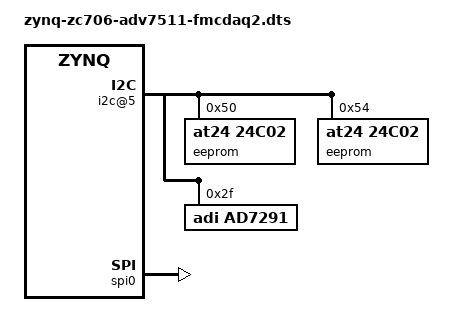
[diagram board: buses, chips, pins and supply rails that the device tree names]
// SPDX-License-Identifier: GPL-2.0
/*
 * Analog Devices AD-FMCDAQ2-EBZ
 * https://wiki.analog.com/resources/eval/user-guides/ad-fmcdaq2-ebz
 *
 * hdl_project: <daq2/zc706>
 * board_revision: <>
 *
 * Copyright (C) 2014-2019 Analog Devices Inc.
 */
/dts-v1/;

#include "zynq-zc706.dtsi"
#include "zynq-zc706-adv7511.dtsi"
#include <dt-bindings/jesd204/adxcvr.h>

&i2c_mux {
	i2c@5 { /* HPC IIC */
		#address-cells = <1>;
		#size-cells = <0>;
		reg = <5>;

		eeprom@50 {
			compatible = "at24,24c02";
			reg = <0x50>;
		};

		eeprom@54 {
			compatible = "at24,24c02";
			reg = <0x54>;
		};

		ad7291@2f {
			compatible = "adi,ad7291";
			reg = <0x2f>;
		};
	};
};


&fpga_axi {
	rx_dma: rx-dmac@7c400000 {
		compatible = "adi,axi-dmac-1.00.a";
		reg = <0x7c400000 0x10000>;
		#dma-cells = <1>;
		interrupts = <0 57 IRQ_TYPE_LEVEL_HIGH>;
		clocks = <&clkc 16>;

		adi,channels {
			#address-cells = <1>;
			#size-cells = <0>;

			dma-channel@0 {
				reg = <0>;
				adi,source-bus-width = <64>;
				adi,source-bus-type = <2>;
				adi,destination-bus-width = <64>;
				adi,destination-bus-type = <0>;
			};
		};
	};

	axi_ad9680_core: axi-ad9680-hpc@44a10000 {
		compatible = "adi,axi-ad9680-1.0";
		reg = <0x44a10000 0x10000>;
		dmas = <&rx_dma 0>;
		dma-names = "rx";
		spibus-connected = <&adc0_ad9680>;
	};

	axi_ad9680_jesd: axi-jesd204-rx@44aa0000 {
		compatible = "adi,axi-jesd204-rx-1.0";
		reg = <0x44aa0000 0x1000>;

		interrupts = <0 55 IRQ_TYPE_LEVEL_HIGH>;

		clocks = <&clkc 16>, <&axi_ad9680_adxcvr 1>, <&axi_ad9680_adxcvr 0>;
		clock-names = "s_axi_aclk", "device_clk", "lane_clk";

		adi,octets-per-frame = <8>;
		adi,frames-per-multiframe = <32>;

		#clock-cells = <0>;
		clock-output-names = "jesd_adc_lane_clk";
	};

	axi_ad9680_adxcvr: axi-adxcvr-rx@44a50000 {
		compatible = "adi,axi-adxcvr-1.0";
		reg = <0x44a50000 0x1000>;

		clocks = <&clk0_ad9523 4>;
		clock-names = "conv";

		#clock-cells = <1>;
		clock-output-names = "adc_gt_clk", "rx_out_clk";

		adi,sys-clk-select = <XCVR_QPLL>;
		adi,out-clk-select = <XCVR_REFCLK_DIV2>;
		adi,use-lpm-enable;
	};
};

&spi0 {
	status = "okay";
};

#define fmc_spi spi0

#include "adi-daq2.dtsi"

&adc0_ad9680 {
	powerdown-gpios = <&gpio0 96 0>;
	fastdetect-a-gpios = <&gpio0 89 0>;
	fastdetect-b-gpios = <&gpio0 90 0>;
};

&clk0_ad9523 {
	powerdown-gpios = <&gpio0 93 0>;
	sync-gpios = <&gpio0 92 0>;
	reset-gpios = <&gpio0 91 0>;
	status0-gpios = <&gpio0 86 0>;
	status1-gpios = <&gpio0 87 0>;
};
